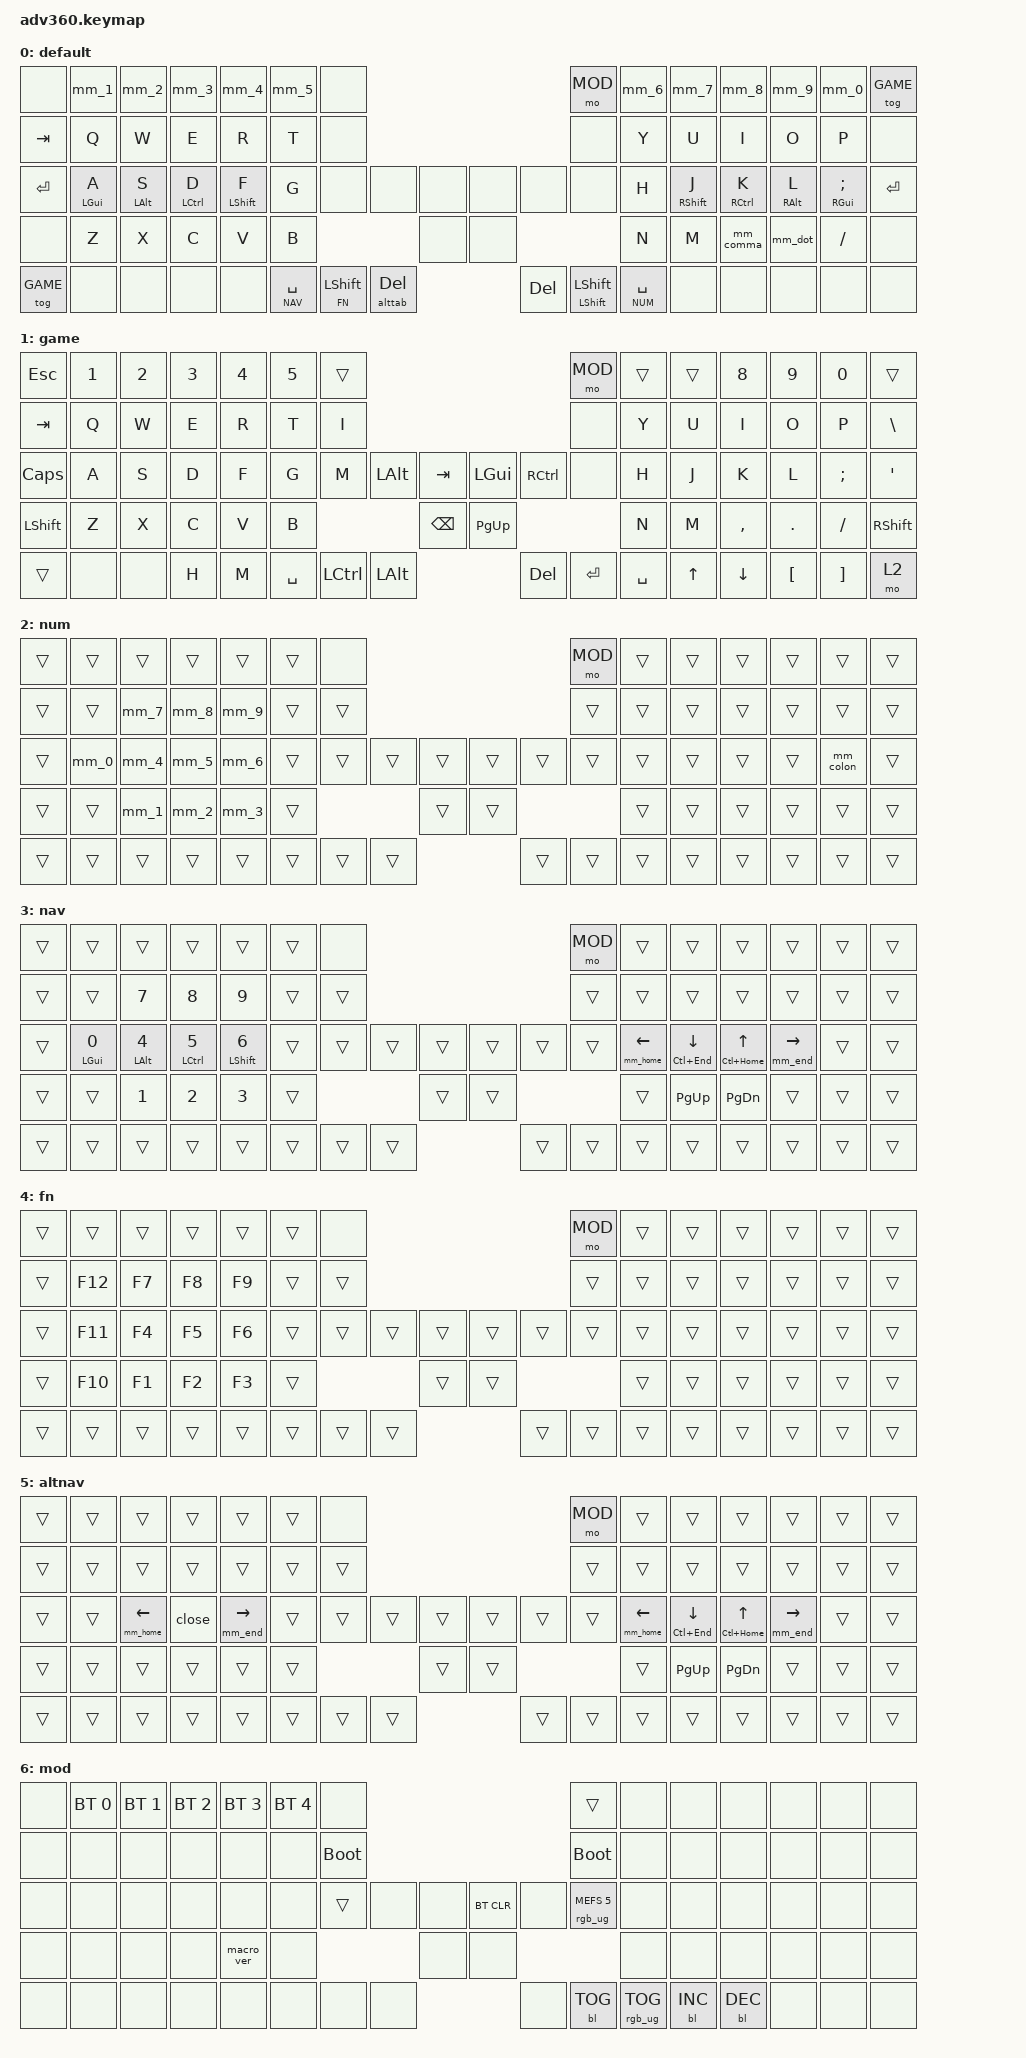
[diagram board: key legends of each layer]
// -------------------------------------------------------------------------
// Program: adv360.keymap
// Description: Kinesis Advantage 360 Pro ZMK configuration with home row mods,
//              extensive combos, and optimized timing for fast typing
// Author: Greg Tate
// -------------------------------------------------------------------------

#include <behaviors.dtsi>

#include <dt-bindings/zmk/keys.h>
#include <dt-bindings/zmk/bt.h>
#include <dt-bindings/zmk/rgb.h>
#include <dt-bindings/zmk/backlight.h>

// -------------------------------------------------------------------------
// Layer Definitions
// -------------------------------------------------------------------------

#define DEFAULT    0
#define GAME       1
#define NUM        2
#define NAV        3
#define FN         4
#define ALTNAV     5
#define MOD        6

#define COMBOLAYERS DEFAULT NUM NAV FN ALTNAV

// -------------------------------------------------------------------------
// Special Key Definitions
// -------------------------------------------------------------------------

#define XXX &none
#define ___ &trans

// -------------------------------------------------------------------------
// Timing Constants
// -------------------------------------------------------------------------

#define TAPPING_TERM 220
#define HMR_TAPPING_TERM 220
#define PRIOR_IDLE   170
#define QUICK_TAP    150

// -------------------------------------------------------------------------
// Key Position Definitions
// -------------------------------------------------------------------------

#define KEYS_LEFT   0  1  2  3  4  5  6 \
                   14 15 16 17 18 19 20 \
                   28 29 30 31 32 33 34 \
                   46 47 48 49 50 51 \
                   60 61 62 63 64
#define KEYS_RIGHT  7  8  9 10 11 12 13 \
                   21 22 23 24 25 26 27 \
                   39 40 41 42 43 44 45 \
                      54 55 56 57 58 59 \
                         71 72 73 74 75

#define THUMBS_LEFT  35 36 52 65 66 67
#define THUMBS_RIGHT 37 38 53 68 69 70

// -------------------------------------------------------------------------
// Combo Timing Constants
// -------------------------------------------------------------------------

#define COMBO_TERM_FAST 15
#define COMBO_TERM_SLOW 250

// Larger idle time reduces accidental combos when typing fast
#define COMBO_IDLE_FAST 120
#define COMBO_IDLE_SLOW 250

// =========================================================================
// BEHAVIOR CONFIGURATIONS
// =========================================================================

// -------------------------------------------------------------------------
// Layer-tap settings
// -------------------------------------------------------------------------
&lt {
    flavor = "balanced";
    tapping-term-ms = <175>;
    quick_tap_ms = <200>;
};

// -------------------------------------------------------------------------
// Mod-tap settings (used by navigation combos)
// -------------------------------------------------------------------------
&mt {
    flavor = "tap-preferred";
    tapping-term-ms = <220>;
    quick_tap_ms = <220>;
    hold-trigger-key-positions = <0>;
};

// -------------------------------------------------------------------------
// Sticky-key settings
// -------------------------------------------------------------------------
&sk {
    release-after-ms = <900>;
    quick-release;              // no double capitalization when rolling keys
};

// -------------------------------------------------------------------------
// Caps Word settings
// -------------------------------------------------------------------------
&caps_word {
    continue-list = <UNDERSCORE MINUS DEL BSPC>;
};

/ {

    // =========================================================================
    // MACROS
    // =========================================================================

    macros {
        // ALT+TAB window switcher with ALTNAV layer for navigation
        alttab: alttab {
            compatible     = "zmk,behavior-macro";
            #binding-cells = <0>;
            wait-ms = <40>;
            tap-ms  = <40>;
            bindings
                = <&macro_press   &mo ALTNAV>
                , <&macro_press   &kp LALT>
                , <&macro_tap     &kp TAB>
                , <&macro_pause_for_release>
                , <&macro_release &kp LALT>
                , <&macro_release &mo ALTNAV>
                ;
        };

        // Close window (ALT+DEL)
        close: close {
            compatible     = "zmk,behavior-macro";
            #binding-cells = <0>;
            wait-ms = <40>;
            tap-ms  = <40>;
            bindings
                = <&macro_press   &kp LALT>
                , <&macro_tap     &kp DEL>
                , <&macro_release &kp LALT>
                ;
        };

        // Arrow operator (=>)
        arrow: arrow {
            compatible     = "zmk,behavior-macro";
            #binding-cells = <0>;
            wait-ms = <40>;
            tap-ms  = <40>;
            bindings
                = <&macro_tap   &kp EQUAL>
                , <&macro_tap   &kp GT>
                ;
        };

        // En dash (–) via Unicode
        endash: endash {
            compatible     = "zmk,behavior-macro";
            #binding-cells = <0>;
            wait-ms = <40>;
            tap-ms  = <40>;
            bindings
                = <&macro_tap     &kp KP_N2 &kp KP_N0 &kp KP_N1 &kp KP_N3>
                , <&macro_press   &kp LALT>
                , <&macro_tap     &kp X>
                , <&macro_release &kp LALT>
                ;
        };
    };

    // =========================================================================
    // COMBOS
    // =========================================================================

    combos {
        compatible = "zmk,combos";

        // -------------------------------------------------------------------------
        // Modifier Combos
        // -------------------------------------------------------------------------

        // Left hand CTRL+SHIFT
        left-hand-control-shift {
            timeout-ms            = <COMBO_TERM_FAST>;
            require-prior-idle-ms = <COMBO_IDLE_SLOW>;
            key-positions         = <31 32>;
            bindings              = <&kp LC(LEFT_SHIFT)>;
            layers                = <COMBOLAYERS>;
        };

        // -------------------------------------------------------------------------
        // Left Hand - Horizontal Combos
        // -------------------------------------------------------------------------

        reverse-tab {
            timeout-ms            = <COMBO_TERM_FAST>;
            require-prior-idle-ms = <COMBO_IDLE_SLOW>;
            key-positions         = <16 17>;
            bindings              = <&kp LS(TAB)>;
            layers                = <COMBOLAYERS>;
        };

        tab {
            timeout-ms            = <12>;
            require-prior-idle-ms = <COMBO_IDLE_SLOW>;
            key-positions         = <17 18>;
            bindings              = <&kp TAB>;
            layers                = <COMBOLAYERS>;
        };

        // Hold for ALT+LCTRL, tap for ESC
        esc {
            timeout-ms            = <COMBO_TERM_SLOW>;
            require-prior-idle-ms = <200>;
            key-positions         = <30 31>;
            bindings              = <&esc_acl LA(LCTRL) ESC>;
            layers                = <COMBOLAYERS>;
        };

        undo {
            timeout-ms            = <COMBO_TERM_SLOW>;
            require-prior-idle-ms = <COMBO_IDLE_SLOW>;
            key-positions         = <32 33>;
            bindings              = <&kp LC(Z)>;
            layers                = <COMBOLAYERS>;
        };

        del {
            timeout-ms            = <COMBO_TERM_SLOW>;
            require-prior-idle-ms = <COMBO_IDLE_SLOW>;
            key-positions         = <48 49>;
            bindings              = <&mt LC(DEL) DEL>;
            layers                = <COMBOLAYERS>;
        };

        bspc {
            timeout-ms            = <COMBO_TERM_SLOW>;
            require-prior-idle-ms = <COMBO_IDLE_FAST>;
            key-positions         = <49 50>;
            bindings              = <&mt LC(BSPC) BSPC>;
            layers                = <COMBOLAYERS>;
        };

        // -------------------------------------------------------------------------
        // Left Hand - Vertical Combos (Symbols)
        // -------------------------------------------------------------------------

        exclamation {
            timeout-ms            = <COMBO_TERM_SLOW>;
            require-prior-idle-ms = <COMBO_IDLE_SLOW>;
            key-positions         = <15 29>;
            bindings              = <&kp EXCL>;
            layers                = <COMBOLAYERS>;
        };

        percent {
            timeout-ms            = <COMBO_TERM_SLOW>;
            require-prior-idle-ms = <COMBO_IDLE_SLOW>;
            key-positions         = <16 30>;
            bindings              = <&kp PRCT>;
            layers                = <COMBOLAYERS>;
        };

        at {
            timeout-ms            = <COMBO_TERM_SLOW>;
            require-prior-idle-ms = <COMBO_IDLE_SLOW>;
            key-positions         = <17 31>;
            bindings              = <&kp AT>;
            layers                = <COMBOLAYERS>;
        };

        dollar {
            timeout-ms            = <COMBO_TERM_SLOW>;
            require-prior-idle-ms = <COMBO_IDLE_SLOW>;
            key-positions         = <18 32>;
            bindings              = <&kp DLLR>;
            layers                = <COMBOLAYERS>;
        };

        hash {
            timeout-ms            = <COMBO_TERM_SLOW>;
            require-prior-idle-ms = <COMBO_IDLE_SLOW>;
            key-positions         = <19 33>;
            bindings              = <&kp HASH>;
            layers                = <COMBOLAYERS>;
        };

        // -------------------------------------------------------------------------
        // Left Hand - Vertical Combos (Editing Commands)
        // -------------------------------------------------------------------------

        select-all {
            timeout-ms            = <COMBO_TERM_SLOW>;
            require-prior-idle-ms = <COMBO_IDLE_SLOW>;
            key-positions         = <29 47>;
            bindings              = <&kp LC(A)>;
            layers                = <COMBOLAYERS>;
        };

        cut {
            timeout-ms            = <COMBO_TERM_SLOW>;
            require-prior-idle-ms = <COMBO_IDLE_SLOW>;
            key-positions         = <30 48>;
            bindings              = <&kp LC(X)>;
            layers                = <COMBOLAYERS>;
        };

        copy {
            timeout-ms            = <COMBO_TERM_SLOW>;
            require-prior-idle-ms = <COMBO_IDLE_SLOW>;
            key-positions         = <31 49>;
            bindings              = <&kp LC(C)>;
            layers                = <COMBOLAYERS>;
        };

        paste {
            timeout-ms            = <COMBO_TERM_SLOW>;
            require-prior-idle-ms = <COMBO_IDLE_SLOW>;
            key-positions         = <32 50>;
            bindings              = <&td_paste>;
            layers                = <COMBOLAYERS>;
        };

        bold {
            timeout-ms            = <COMBO_TERM_SLOW>;
            require-prior-idle-ms = <COMBO_IDLE_SLOW>;
            key-positions         = <33 51>;
            bindings              = <&kp LC(B)>;
            layers                = <COMBOLAYERS>;
        };

        // -------------------------------------------------------------------------
        // Right Hand - Horizontal Combos (Brackets & Quotes)
        // -------------------------------------------------------------------------

        underscore {
            timeout-ms            = <COMBO_TERM_SLOW>;
            require-prior-idle-ms = <COMBO_IDLE_FAST>;
            key-positions         = <22 23>;
            bindings              = <&mm_under>;
            layers                = <COMBOLAYERS>;
        };

        left_bracket {
            timeout-ms            = <25>;
            require-prior-idle-ms = <COMBO_IDLE_FAST>;
            key-positions         = <23 24>;
            bindings              = <&mm_lbracket>;
            layers                = <COMBOLAYERS>;
        };

        right_bracket {
            timeout-ms            = <25>;
            require-prior-idle-ms = <COMBO_IDLE_FAST>;
            key-positions         = <24 25>;
            bindings              = <&mm_rbracket>;
            layers                = <COMBOLAYERS>;
        };

        left_angle {
            timeout-ms            = <25>;
            require-prior-idle-ms = <COMBO_IDLE_FAST>;
            key-positions         = <23 24 25>;
            bindings              = <&mm_lt>;
            layers                = <COMBOLAYERS>;
        };

        double_quotes {
            timeout-ms            = <COMBO_TERM_SLOW>;
            require-prior-idle-ms = <COMBO_IDLE_FAST>;
            key-positions         = <40 41>;
            bindings              = <&kp DQT>;
            layers                = <COMBOLAYERS>;
        };

        // Hold for CTRL+SHIFT, tap for parenthesis
        lparen {
            timeout-ms            = <50>;
            require-prior-idle-ms = <20>;
            key-positions         = <41 42>;
            bindings              = <&lparen_csr RC(RIGHT_SHIFT) 0>;
            layers                = <COMBOLAYERS>;
        };

        // Hold for ALT+CTRL, tap for parenthesis
        rparen {
            timeout-ms            = <50>;
            require-prior-idle-ms = <20>;
            key-positions         = <42 43>;
            bindings              = <&rparen_csr RA(RIGHT_CONTROL) 0>;
            layers                = <COMBOLAYERS>;
        };

        right_angle {
            timeout-ms            = <25>;
            require-prior-idle-ms = <COMBO_IDLE_FAST>;
            key-positions         = <41 42 43>;
            bindings              = <&mm_gt>;
            layers                = <COMBOLAYERS>;
        };

        quote {
            timeout-ms            = <COMBO_TERM_SLOW>;
            require-prior-idle-ms = <100>;
            key-positions         = <54 55>;
            bindings              = <&kp SQT>;
            layers                = <COMBOLAYERS>;
        };

        lbrace {
            timeout-ms            = <COMBO_TERM_SLOW>;
            require-prior-idle-ms = <20>;
            key-positions         = <55 56>;
            bindings              = <&mm_lbrace>;
            layers                = <COMBOLAYERS>;
        };

        rbrace {
            timeout-ms            = <COMBO_TERM_SLOW>;
            require-prior-idle-ms = <COMBO_IDLE_FAST>;
            key-positions         = <56 57>;
            bindings              = <&mm_rbrace>;
            layers                = <COMBOLAYERS>;
        };

        // -------------------------------------------------------------------------
        // Right Hand - Vertical Combos (Operators)
        // -------------------------------------------------------------------------

        star {
            timeout-ms            = <COMBO_TERM_SLOW>;
            key-positions         = <22 40>;
            bindings              = <&kp STAR>;
            layers                = <COMBOLAYERS>;
        };

        plus {
            timeout-ms            = <COMBO_TERM_SLOW>;
            key-positions         = <23 41>;
            bindings              = <&kp PLUS>;
            layers                = <COMBOLAYERS>;
        };

        equal {
            timeout-ms            = <COMBO_TERM_SLOW>;
            key-positions         = <24 42>;
            bindings              = <&kp EQUAL>;
            layers                = <COMBOLAYERS>;
        };

        ampersand {
            timeout-ms            = <COMBO_TERM_SLOW>;
            key-positions         = <25 43>;
            bindings              = <&kp AMPS>;
            layers                = <COMBOLAYERS>;
        };

        caret {
            timeout-ms            = <COMBO_TERM_SLOW>;
            key-positions         = <26 44>;
            bindings              = <&kp CARET>;
            layers                = <COMBOLAYERS>;
        };

        grave {
            timeout-ms            = <COMBO_TERM_SLOW>;
            key-positions         = <40 54>;
            bindings              = <&kp GRAVE>;
            layers                = <COMBOLAYERS>;
        };

        minus {
            timeout-ms            = <COMBO_TERM_SLOW>;
            key-positions         = <41 55>;
            bindings              = <&mm_minus>;
            layers                = <COMBOLAYERS>;
        };

        slash {
            timeout-ms            = <COMBO_TERM_SLOW>;
            key-positions         = <42 56>;
            bindings              = <&kp SLASH>;
            layers                = <COMBOLAYERS>;
        };

        pipe {
            timeout-ms            = <COMBO_TERM_SLOW>;
            key-positions         = <43 57>;
            bindings              = <&kp PIPE>;
            layers                = <COMBOLAYERS>;
        };

        backslash {
            timeout-ms            = <COMBO_TERM_SLOW>;
            key-positions         = <44 58>;
            bindings              = <&mm_bslh>;
            layers                = <COMBOLAYERS>;
        };
    };

    // =========================================================================
    // BEHAVIORS
    // =========================================================================

    behaviors {
        #include "macros.dtsi"
        #include "version.dtsi"

        // -------------------------------------------------------------------------
        // Tap Dances
        // -------------------------------------------------------------------------

        // Paste: single tap = CTRL+V, double tap = CTRL+SHIFT+V
        td_paste: tap_dance_paste {
            compatible = "zmk,behavior-tap-dance";
            #binding-cells = <0>;
            tapping-term-ms = <275>;
            bindings = <&kp LC(V)>, <&kp LS(LC(V))>;
        };

        // -------------------------------------------------------------------------
        // Home Row Mods - Left Hand
        // -------------------------------------------------------------------------

        // F key - hold-preferred for better modifier activation
        hmlf: home_row_mod_left_f {
            compatible                 = "zmk,behavior-hold-tap";
            #binding-cells             = <2>;
            bindings                   = <&kp>, <&kp>;
            flavor                     = "hold-preferred";
            tapping-term-ms            = <280>;
            require-prior-idle-ms      = <170>;
            quick-tap-ms               = <5>;
            hold-trigger-key-positions = <KEYS_RIGHT THUMBS_RIGHT 17>;
            hold-trigger-on-release;
        };

        // Standard home row mod for left hand (D, S, A keys)
        hml: home_row_mod_left {
            compatible                 = "zmk,behavior-hold-tap";
            #binding-cells             = <2>;
            bindings                   = <&kp>, <&kp>;
            flavor                     = "balanced";
            tapping-term-ms            = <280>;
            require-prior-idle-ms      = <170>;
            quick-tap-ms               = <QUICK_TAP>;
            hold-trigger-key-positions = <KEYS_RIGHT THUMBS_RIGHT 17>;
            hold-trigger-on-release;
        };

        // Tap-preferred variant for A key
        tml: home_row_mod_left_tap {
            compatible                 = "zmk,behavior-hold-tap";
            #binding-cells             = <2>;
            bindings                   = <&kp>, <&kp>;
            flavor                     = "tap-preferred";
            tapping-term-ms            = <280>;
            require-prior-idle-ms      = <200>;
            quick-tap-ms               = <QUICK_TAP>;
            hold-trigger-key-positions = <KEYS_RIGHT THUMBS_RIGHT 17>;
            hold-trigger-on-release;
        };

        // -------------------------------------------------------------------------
        // Home Row Mods - Right Hand
        // -------------------------------------------------------------------------

        // J key - hold-preferred for better modifier activation
        hmrj: home_row_mod_right_j {
            compatible                 = "zmk,behavior-hold-tap";
            #binding-cells             = <2>;
            bindings                   = <&kp>, <&kp>;
            flavor                     = "hold-preferred";
            tapping-term-ms            = <280>;
            require-prior-idle-ms      = <250>;
            quick-tap-ms               = <QUICK_TAP>;
            hold-trigger-key-positions = <KEYS_LEFT THUMBS_LEFT THUMBS_RIGHT>;
            hold-trigger-on-release;
        };

        // Standard home row mod for right hand (K, L, ; keys)
        hmr: home_row_mod_right {
            compatible                 = "zmk,behavior-hold-tap";
            #binding-cells             = <2>;
            bindings                   = <&kp>, <&kp>;
            flavor                     = "balanced";
            tapping-term-ms            = <280>;
            require-prior-idle-ms      = <250>;
            quick-tap-ms               = <QUICK_TAP>;
            hold-trigger-key-positions = <KEYS_LEFT THUMBS_LEFT THUMBS_RIGHT>;
            hold-trigger-on-release;
        };

        // -------------------------------------------------------------------------
        // Special Hold-Tap Behaviors
        // -------------------------------------------------------------------------

        // Left parenthesis with CTRL+SHIFT hold option
        lparen_csr: lparen_control_shift_right {
            compatible                 = "zmk,behavior-hold-tap";
            #binding-cells             = <2>;
            bindings                   = <&kp>, <&mm_lparen>;
            flavor                     = "balanced";
            tapping-term-ms            = <TAPPING_TERM>;
            require-prior-idle-ms      = <PRIOR_IDLE>;
            quick-tap-ms               = <QUICK_TAP>;
            hold-trigger-key-positions = <KEYS_LEFT THUMBS_LEFT THUMBS_RIGHT>;
            hold-trigger-on-release;
        };

        // Right parenthesis with ALT+CTRL hold option
        rparen_csr: rparen_control_shift_right {
            compatible                 = "zmk,behavior-hold-tap";
            #binding-cells             = <2>;
            bindings                   = <&kp>, <&mm_rparen>;
            flavor                     = "balanced";
            tapping-term-ms            = <TAPPING_TERM>;
            require-prior-idle-ms      = <100>;
            quick-tap-ms               = <QUICK_TAP>;
            hold-trigger-key-positions = <KEYS_LEFT THUMBS_LEFT THUMBS_RIGHT>;
            hold-trigger-on-release;
        };

        // Double quote with ALT+SHIFT hold option
        dblquote_asr: double_quote_alt_shift_right {
            compatible                 = "zmk,behavior-hold-tap";
            #binding-cells             = <2>;
            bindings                   = <&kp>, <&kp>;
            flavor                     = "balanced";
            tapping-term-ms            = <TAPPING_TERM>;
            require-prior-idle-ms      = <PRIOR_IDLE>;
            quick-tap-ms               = <QUICK_TAP>;
            hold-trigger-key-positions = <KEYS_LEFT THUMBS_LEFT THUMBS_RIGHT>;
            hold-trigger-on-release;
        };

        // ESC with ALT+CTRL hold option
        esc_acl: esc_alt_ctrl_left {
            compatible                 = "zmk,behavior-hold-tap";
            #binding-cells             = <2>;
            bindings                   = <&kp>, <&kp>;
            flavor                     = "balanced";
            tapping-term-ms            = <TAPPING_TERM>;
            require-prior-idle-ms      = <PRIOR_IDLE>;
            quick-tap-ms               = <QUICK_TAP>;
            hold-trigger-key-positions = <KEYS_RIGHT THUMBS_LEFT THUMBS_RIGHT>;
            hold-trigger-on-release;
        };

        // Mod-tap for shift (hold for modifier, tap for sticky key)
        mts: mod_tap_shift {
            compatible            = "zmk,behavior-hold-tap";
            #binding-cells        = <2>;
            flavor                = "hold-preferred";
            tapping-term-ms       = <TAPPING_TERM>;
            quick-tap-ms          = <QUICK_TAP>;
            require-prior-idle-ms = <PRIOR_IDLE>;
            bindings              = <&kp>, <&sk>;
        };

        // Layer-tap for shift (hold for layer, tap for sticky shift)
        lts: layer_tap_shift {
            compatible            = "zmk,behavior-hold-tap";
            #binding-cells        = <2>;
            flavor                = "hold-preferred";
            tapping-term-ms       = <TAPPING_TERM>;
            quick-tap-ms          = <QUICK_TAP>;
            require-prior-idle-ms = <PRIOR_IDLE>;
            bindings              = <&mo>, <&sk>;
        };

        // ALT+TAB behavior (hold for alt-tab switcher, tap for key)
        atb: alt_tab {
            compatible            = "zmk,behavior-hold-tap";
            #binding-cells        = <2>;
            flavor                = "hold-preferred";
            tapping-term-ms       = <TAPPING_TERM>;
            quick-tap-ms          = <QUICK_TAP>;
            require-prior-idle-ms = <PRIOR_IDLE>;
            bindings              = <&alttab>, <&kp>;
        };

        // -------------------------------------------------------------------------
        // Navigation Behaviors
        // -------------------------------------------------------------------------

        // Left arrow with HOME hold option
        nav_left: nav_left {
            compatible                 = "zmk,behavior-hold-tap";
            #binding-cells             = <2>;
            flavor                     = "tap-preferred";
            tapping-term-ms            = <220>;
            quick-tap-ms               = <220>;
            hold-trigger-key-positions = <0>;
            bindings                   = <&mm_home>, <&kp>;
        };

        // Right arrow with END hold option
        nav_right: nav_right {
            compatible                 = "zmk,behavior-hold-tap";
            #binding-cells             = <2>;
            flavor                     = "tap-preferred";
            tapping-term-ms            = <220>;
            quick-tap-ms               = <220>;
            hold-trigger-key-positions = <0>;
            bindings                   = <&mm_end>, <&kp>;
        };

        // =========================================================================
        // MOD MORPHS
        // =========================================================================

        // -------------------------------------------------------------------------
        // Punctuation Mod Morphs
        // -------------------------------------------------------------------------

        // Minus (prevents shift from changing output)
        mm_minus: mm_minus {
            compatible     = "zmk,behavior-mod-morph";
            #binding-cells = <0>;
            bindings       = <&kp MINUS>, <&kp MINUS>;
            mods           = <(MOD_LSFT)>;
        };

        // Underscore (prevents shift from changing output)
        mm_under: mm_under {
            compatible     = "zmk,behavior-mod-morph";
            #binding-cells = <0>;
            bindings       = <&kp UNDER>, <&kp UNDER>;
            mods           = <(MOD_LSFT)>;
        };

        // Comma (prevents shift from changing output)
        mm_comma: mm_comma {
            compatible     = "zmk,behavior-mod-morph";
            #binding-cells = <0>;
            bindings       = <&kp COMMA>, <&kp COMMA>;
            mods           = <(MOD_LSFT)>;
        };

        // Period (prevents shift from changing output)
        mm_dot: mm_dot {
            compatible     = "zmk,behavior-mod-morph";
            #binding-cells = <0>;
            bindings       = <&kp DOT>, <&kp DOT>;
            mods           = <(MOD_LSFT)>;
        };

        // Colon (prevents shift from changing output)
        mm_colon: mm_colon {
            compatible     = "zmk,behavior-mod-morph";
            #binding-cells = <0>;
            bindings       = <&kp COLON>, <&kp COLON>;
            mods           = <(MOD_LSFT)>;
        };

        // Double quote (prevents shift from changing output)
        mm_dqt: mm_dqt {
            compatible     = "zmk,behavior-mod-morph";
            #binding-cells = <0>;
            bindings       = <&kp DQT>, <&kp DQT>;
            mods           = <(MOD_LSFT)>;
        };

        // Backslash (prevents shift from changing output)
        mm_bslh: mm_bslh {
            compatible     = "zmk,behavior-mod-morph";
            #binding-cells = <0>;
            bindings       = <&kp BSLH>, <&kp BSLH>;
            mods           = <(MOD_LSFT)>;
        };

        // -------------------------------------------------------------------------
        // Bracket & Parenthesis Mod Morphs
        // -------------------------------------------------------------------------

        // Left parenthesis (prevents shift from changing output)
        mm_lparen: mm_lparen {
            compatible     = "zmk,behavior-mod-morph";
            #binding-cells = <0>;
            bindings       = <&kp LPAR>, <&kp LPAR>;
            mods           = <(MOD_LSFT)>;
        };

        // Right parenthesis (prevents shift from changing output)
        mm_rparen: mm_rparen {
            compatible     = "zmk,behavior-mod-morph";
            #binding-cells = <0>;
            bindings       = <&kp RPAR>, <&kp RPAR>;
            mods           = <(MOD_LSFT)>;
        };

        // Greater than (prevents shift from changing output)
        mm_gt: mm_greater_than {
            compatible     = "zmk,behavior-mod-morph";
            #binding-cells = <0>;
            bindings       = <&kp GT>, <&kp GT>;
            mods           = <(MOD_LSFT)>;
        };

        // Less than (prevents shift from changing output)
        mm_lt: mm_less_than {
            compatible     = "zmk,behavior-mod-morph";
            #binding-cells = <0>;
            bindings       = <&kp LT>, <&kp LT>;
            mods           = <(MOD_LSFT)>;
        };

        // Left brace (with shift pressed, outputs left bracket)
        mm_lbrace: mm_lbrace {
            compatible     = "zmk,behavior-mod-morph";
            #binding-cells = <0>;
            bindings       = <&kp LBRC>, <&kp LBKT>;
            mods           = <(MOD_LSFT)>;
        };

        // Left bracket (prevents shift from changing output)
        mm_lbracket: mm_lbracket {
            compatible     = "zmk,behavior-mod-morph";
            #binding-cells = <0>;
            bindings       = <&kp LBKT>, <&kp LBKT>;
            mods           = <(MOD_LSFT)>;
        };

        // Right brace (with shift pressed, outputs right bracket)
        mm_rbrace: mm_rbrace {
            compatible     = "zmk,behavior-mod-morph";
            #binding-cells = <0>;
            bindings       = <&kp RBRC>, <&kp RBKT>;
            mods           = <(MOD_LSFT)>;
        };

        // Right bracket (prevents shift from changing output)
        mm_rbracket: mm_rbracket {
            compatible     = "zmk,behavior-mod-morph";
            #binding-cells = <0>;
            bindings       = <&kp RBKT>, <&kp RBKT>;
            mods           = <(MOD_LSFT)>;
        };

        // -------------------------------------------------------------------------
        // Navigation Mod Morphs
        // -------------------------------------------------------------------------

        // HOME (masks CTRL to avoid accidental document-level jumps)
        mm_home: mm_home {
            compatible     = "zmk,behavior-mod-morph";
            #binding-cells = <0>;
            bindings       = <&kp HOME>, <&kp HOME>;
            mods           = <(MOD_LCTL)>;
        };

        // END (masks CTRL to avoid accidental document-level jumps)
        mm_end: mm_end {
            compatible     = "zmk,behavior-mod-morph";
            #binding-cells = <0>;
            bindings       = <&kp END>, <&kp END>;
            mods           = <(MOD_LCTL)>;
        };

        // -------------------------------------------------------------------------
        // Number Row Mod Morphs (prevent shift from changing output)
        // -------------------------------------------------------------------------

        mm_1: mm_1 {
            compatible     = "zmk,behavior-mod-morph";
            #binding-cells = <0>;
            bindings       = <&kp N1>, <&kp N1>;
            mods           = <(MOD_LSFT)>;
        };

        mm_2: mm_2 {
            compatible     = "zmk,behavior-mod-morph";
            #binding-cells = <0>;
            bindings       = <&kp N2>, <&kp N2>;
            mods           = <(MOD_LSFT)>;
        };

        mm_3: mm_3 {
            compatible     = "zmk,behavior-mod-morph";
            #binding-cells = <0>;
            bindings       = <&kp N3>, <&kp N3>;
            mods           = <(MOD_LSFT)>;
        };

        mm_4: mm_4 {
            compatible     = "zmk,behavior-mod-morph";
            #binding-cells = <0>;
            bindings       = <&kp N4>, <&kp N4>;
            mods           = <(MOD_LSFT)>;
        };

        mm_5: mm_5 {
            compatible     = "zmk,behavior-mod-morph";
            #binding-cells = <0>;
            bindings       = <&kp N5>, <&kp N5>;
            mods           = <(MOD_LSFT)>;
        };

        mm_6: mm_6 {
            compatible     = "zmk,behavior-mod-morph";
            #binding-cells = <0>;
            bindings       = <&kp N6>, <&kp N6>;
            mods           = <(MOD_LSFT)>;
        };

        mm_7: mm_7 {
            compatible     = "zmk,behavior-mod-morph";
            #binding-cells = <0>;
            bindings       = <&kp N7>, <&kp N7>;
            mods           = <(MOD_LSFT)>;
        };

        mm_8: mm_8 {
            compatible     = "zmk,behavior-mod-morph";
            #binding-cells = <0>;
            bindings       = <&kp N8>, <&kp N8>;
            mods           = <(MOD_LSFT)>;
        };

        mm_9: mm_9 {
            compatible     = "zmk,behavior-mod-morph";
            #binding-cells = <0>;
            bindings       = <&kp N9>, <&kp N9>;
            mods           = <(MOD_LSFT)>;
        };

        mm_0: mm_0 {
            compatible     = "zmk,behavior-mod-morph";
            #binding-cells = <0>;
            bindings       = <&kp N0>, <&kp N0>;
            mods           = <(MOD_LSFT)>;
        };
    };

    // =========================================================================
    // KEYMAP
    // =========================================================================

    keymap {
        compatible = "zmk,keymap";

        // -------------------------------------------------------------------------
        // Layer 0: DEFAULT
        // -------------------------------------------------------------------------
        default {
            bindings = <
                XXX         &mm_1        &mm_2        &mm_3         &mm_4          &mm_5  XXX                                                                                  &mo MOD  &mm_6   &mm_7         &mm_8         &mm_9        &mm_0					  &tog GAME
                &kp TAB     &kp Q        &kp W				 &kp E         &kp R          &kp T  XXX                                                                                  XXX      &kp Y   &kp U         &kp I         &kp O        &kp P				    XXX
                &kp ENTER   &tml LGUI A  &hml LALT S  &hml LCTRL D  &hmlf LSHFT F  &kp G  XXX                 XXX            XXX         XXX  		XXX														XXX			 &kp H   &hmrj RSHFT J  &hmr RCTRL K  &hmr RALT L  &hmr RGUI SEMI  &kp ENTER 
                XXX			    &kp Z        &kp X        &kp C         &kp V          &kp B                                     XXX         XXX			     													  			 &kp N   &kp M    	   &mm_comma     &mm_dot      &kp FSLH			  XXX
							  &tog GAME	  XXX          XXX          XXX           XXX                        &lt NAV SPACE  &lts FN LSHFT  &atb 0 DEL  &kp DEL  &mts LSHFT LSHFT  &lt NUM SPACE				  	   XXX           XXX           XXX          XXX					    XXX
            >;
        };

        // -------------------------------------------------------------------------
        // Layer 1: GAME
        // ---------------- ---------------------------------------------------------
        game {
            bindings = <
                &kp ESC    &kp N1  &kp N2  &kp N3   &kp N4  &kp N5  ___                                                                  &mo MOD  ___    ___     &kp N8     &kp N9    &kp N0    ___
                &kp TAB    &kp Q   &kp W   &kp E    &kp R   &kp T   &kp I                                                                &none    &kp Y  &kp U   &kp I      &kp O     &kp P     &kp BSLH
                &kp CAPS   &kp A   &kp S   &kp D    &kp F   &kp G   &kp M            &kp LALT   &kp TAB    &kp LGUI  &kp RCTRL           &none    &kp H  &kp J   &kp K      &kp L     &kp SEMI  &kp SQT
                &kp LSHFT  &kp Z   &kp X   &kp C    &kp V   &kp B                               &kp BSPC   &kp PG_UP                              &kp N  &kp M   &kp COMMA  &kp DOT   &kp FSLH  &kp RSHFT
                ___        XXX     XXX     &kp H    &kp M                  &kp SPACE &kp LCTRL  &kp LALT  &kp DEL &kp ENTER &kp SPACE                 &kp UP  &kp DOWN   &kp LBKT  &kp RBKT  &mo 2
            >;
        };

        // -------------------------------------------------------------------------
        // Layer 2: NUM (Number Layer)
        // -------------------------------------------------------------------------
        num {
            bindings = <
                ___  ___    ___    ___    ___    ___  XXX                                &mo MOD  ___  ___  ___  ___  ___        ___
                ___  ___    &mm_7  &mm_8  &mm_9  ___  ___                                ___      ___  ___  ___  ___  ___  			 ___
                ___  &mm_0  &mm_4  &mm_5  &mm_6  ___  ___       ___  ___  ___  ___       ___      ___  ___  ___  ___  &mm_colon  ___
                ___  ___    &mm_1  &mm_2  &mm_3  ___                 ___  ___                     ___  ___  ___  ___  ___        ___
                ___  ___    ___    ___    ___              ___  ___  ___  ___  ___  ___                ___  ___  ___  ___  			 ___
            >;
        };

        // -------------------------------------------------------------------------
        // Layer 3: NAV (Navigation Layer)
        // -------------------------------------------------------------------------
        nav {
            bindings = <
                ___  ___    			 ___    			 ___     				___    				 ___  XXX                                &mo MOD  ___               ___               ___              ___                 ___  ___
                ___  ___    			 &kp N7  			 &kp N8  				&kp N9  			 ___  ___                 							 ___      ___               ___      					___              ___                 ___  ___
                ___  &tml LGUI N0  &hml LALT N4  &hml LCTRL N5  &hml LSHFT N6  ___  ___       ___  ___  ___  ___       ___      &nav_left 0 LEFT  &mt LC(END) DOWN  &mt LC(HOME) UP  &nav_right 0 RIGHT  ___  ___
                ___  ___    			 &kp N1    	   &kp N2  				&kp N3  			 ___                 ___  ___                     ___ 							&kp PG_UP         &kp PG_DN        ___                 ___  ___
                ___  ___    			 ___    			 ___    				___              				 ___  ___  ___  ___  ___  ___                             ___               ___              ___                 ___  ___
            >;
        };

        // -------------------------------------------------------------------------
        // Layer 4: FN (Function Keys Layer)
        // -------------------------------------------------------------------------
        fn {
            bindings = <
                ___  ___      ___     ___     ___     ___  XXX                                 &mo MOD  ___  ___	___  ___  ___  ___
                ___  &kp F12  &kp F7  &kp F8  &kp F9  ___  ___                                 ___      ___  ___  ___  ___  ___  ___
                ___  &kp F11  &kp F4  &kp F5  &kp F6  ___  ___       ___  ___  ___  ___        ___      ___  ___  ___  ___  ___  ___
                ___  &kp F10  &kp F1  &kp F2  &kp F3  ___                 ___  ___                      ___  ___  ___  ___  ___  ___
                ___  ___      ___     ___     ___               ___  ___  ___  ___  ___  ___                 ___  ___  ___  ___  ___
            >;
        };

        // -------------------------------------------------------------------------
        // Layer 5: ALTNAV (Alt-Tab Navigation Layer)
        // -------------------------------------------------------------------------
        altnav {
            bindings = <
                ___  ___  ___               ___     ___                 ___  XXX                                &mo MOD  ___               ___               ___              ___                 ___  ___
                ___  ___  ___               ___     ___                 ___  ___                                ___      ___               ___               ___              ___                 ___  ___
                ___  ___  &nav_left 0 LEFT  &close  &nav_right 0 RIGHT  ___  ___       ___  ___  ___  ___       ___      &nav_left 0 LEFT  &mt LC(END) DOWN  &mt LC(HOME) UP  &nav_right 0 RIGHT  ___  ___
                ___  ___  ___  							___     ___  							  ___                 ___  ___                     ___               &kp PG_UP         &kp PG_DN        ___                 ___  ___
                ___  ___  ___               ___     ___                           ___  ___  ___  ___  ___  ___                             ___               ___              ___                 ___  ___
            >;
        };

        // -------------------------------------------------------------------------
        // Layer 6: MOD (System/Modifier Layer)
        // -------------------------------------------------------------------------
        mod {
            bindings = <
                XXX &bt BT_SEL 0 &bt BT_SEL 1 &bt BT_SEL 2 &bt BT_SEL 3 &bt BT_SEL 4 XXX                                                       ___                     XXX  XXX         XXX         XXX  XXX  XXX
                XXX XXX          XXX          XXX          XXX          XXX          &bootloader                                               &bootloader             XXX  XXX         XXX         XXX  XXX  XXX
                XXX XXX          XXX          XXX          XXX          XXX          ___          XXX XXX &bt BT_CLR  XXX                      &rgb_ug RGB_MEFS_CMD 5  XXX  XXX         XXX         XXX  XXX  XXX
                XXX XXX          XXX          XXX          &macro_ver   XXX                           XXX XXX                                                          XXX  XXX         XXX         XXX  XXX  XXX
                XXX XXX          XXX          XXX          XXX                                XXX XXX XXX XXX         &bl BL_TOG &rgb_ug RGB_TOG                            &bl BL_INC  &bl BL_DEC  XXX  XXX  XXX
            >;
        };
    };
};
